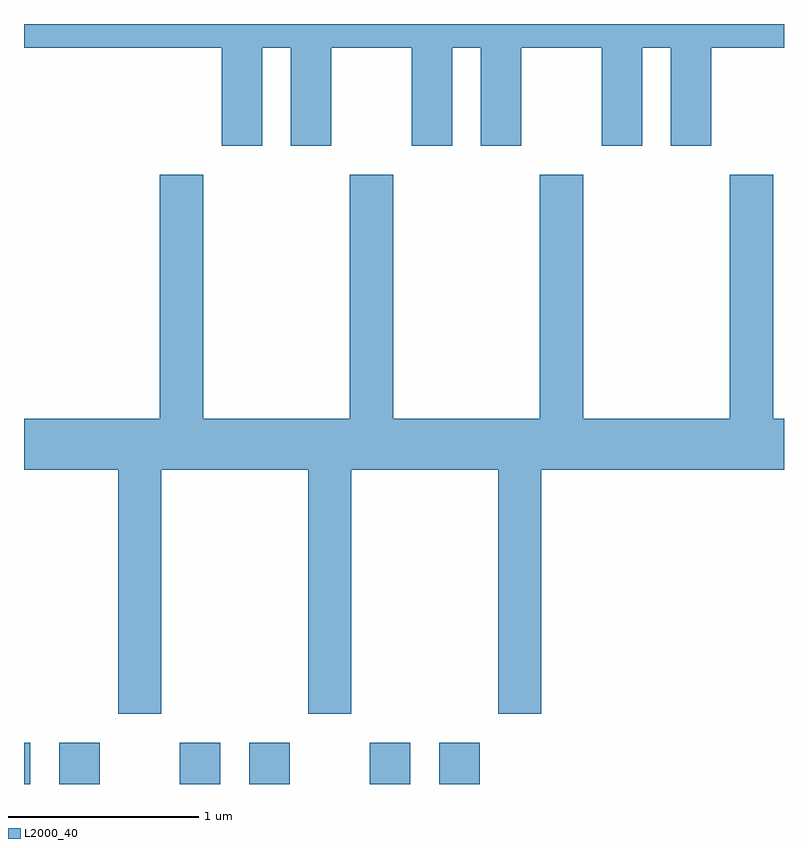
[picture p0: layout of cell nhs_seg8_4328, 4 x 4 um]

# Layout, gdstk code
import gdstk
lib = gdstk.Library(unit=1e-6, precision=1e-09)
def R(c, l, rs):  # rectangles x0, y0, x1, y1
    for r in rs: c.add(gdstk.rectangle(r[:2], r[2:], *l))
def P(c, l, *ps):  # polygons
    for p in ps: c.add(gdstk.Polygon(p, *l))
L2000_40 = (2000, 40)

nhs_seg8_4328 = lib.new_cell('nhs_seg8_4328')
R(nhs_seg8_4328, L2000_40, [(315.611,1810.342,315.644,1810.559), (315.796,1810.342,316.009,1810.559), (316.431,1810.342,316.644,1810.559), (316.796,1810.342,317.009,1810.559), (317.431,1810.342,317.644,1810.559), (317.796,1810.342,318.009,1810.559)])
P(nhs_seg8_4328, L2000_40, [(316.864,1814.216),(317.016,1814.216),(317.016,1813.701),(317.229,1813.701),(317.229,1814.216),(317.651,1814.216),(317.651,1813.701),(317.864,1813.701),(317.864,1814.216),(318.016,1814.216),(318.016,1813.701),(318.229,1813.701),(318.229,1814.216),(318.651,1814.216),(318.651,1813.701),(318.864,1813.701),(318.864,1814.216),(319.016,1814.216),(319.016,1813.701),(319.229,1813.701),(319.229,1814.216),(319.611,1814.216),(319.611,1814.342),(315.611,1814.342),(315.611,1814.216),(316.651,1814.216),(316.651,1813.701),(316.864,1813.701)],
  [(316.334,1811.996),(317.106,1811.996),(317.106,1810.711),(317.334,1810.711),(317.334,1811.996),(318.106,1811.996),(318.106,1810.711),(318.334,1810.711),(318.334,1811.996),(319.611,1811.996),(319.611,1812.264),(319.554,1812.264),(319.554,1813.549),(319.326,1813.549),(319.326,1812.264),(318.554,1812.264),(318.554,1813.549),(318.326,1813.549),(318.326,1812.264),(317.554,1812.264),(317.554,1813.549),(317.326,1813.549),(317.326,1812.264),(316.554,1812.264),(316.554,1813.549),(316.326,1813.549),(316.326,1812.264),(315.611,1812.264),(315.611,1811.996),(316.106,1811.996),(316.106,1810.711),(316.334,1810.711)])

lib.write_gds('nhs_seg8_4328.gds')
